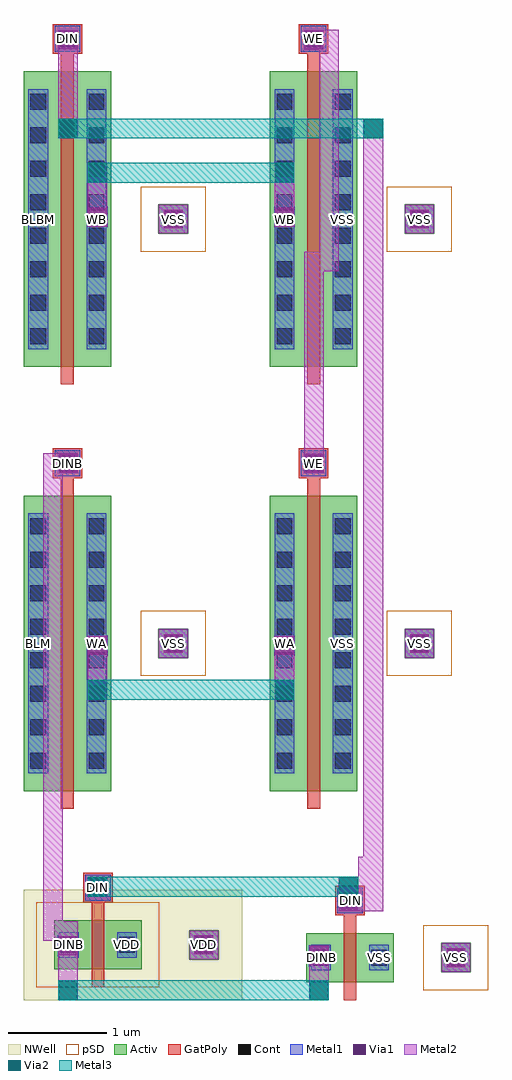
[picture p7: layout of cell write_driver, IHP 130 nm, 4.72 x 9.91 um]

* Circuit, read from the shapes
.subckt write_driver BLBM BLM DIN DINB VDD VSS WA WB WE
XM1 WA DINB BLM VSS sg13_lv_nmos w=3u l=0.13u
XM2 WB DIN BLBM VSS sg13_lv_nmos w=3u l=0.13u
XM3 VSS WE WA VSS sg13_lv_nmos w=3u l=0.13u
XM4 VSS WE WB VSS sg13_lv_nmos w=3u l=0.13u
XM5 VSS DIN DINB VSS sg13_lv_nmos w=0.5u l=0.13u
XM6 VDD DIN DINB VDD sg13_lv_pmos w=0.5u l=0.13u
.ends

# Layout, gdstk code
import gdstk
lib = gdstk.Library(unit=1e-6, precision=1e-09)
def R(c, l, rs):  # rectangles x0, y0, x1, y1
    for r in rs: c.add(gdstk.rectangle(r[:2], r[2:], *l))
def A(c, l, x, y, w, h, nx, ny, dx, dy):  # array of equal rectangles
    R(c, l, [(x+i*dx, y+j*dy, x+i*dx+w, y+j*dy+h) for i in range(nx) for j in range(ny)])
Activ = (1, 0)
GatPoly = (5, 0)
Cont = (6, 0)
Metal1 = (8, 0)
Metal2 = (10, 0)
pSD = (14, 0)
Via1 = (19, 0)
Via2 = (29, 0)
Metal3 = (30, 0)
NWell = (31, 0)

sg13_lv_pmos_w0p5_l0p13 = lib.new_cell('sg13_lv_pmos_w0p5_l0p13')
R(sg13_lv_pmos_w0p5_l0p13, Activ, [(0,0,0.89,0.5), (1.37,0.1,1.67,0.4)])
R(sg13_lv_pmos_w0p5_l0p13, GatPoly, [(0.38,-0.18,0.51,0.7), (0.295,0.68,0.595,0.98)])
R(sg13_lv_pmos_w0p5_l0p13, Cont, [(0.07,0.17,0.23,0.33), (0.66,0.17,0.82,0.33), (1.44,0.17,1.6,0.33), (0.365,0.75,0.525,0.91)])
R(sg13_lv_pmos_w0p5_l0p13, Metal1, [(1.375,0.105,1.665,0.395), (0.05,0.12,0.25,0.38), (0.64,0.12,0.84,0.38), (0.315,0.7,0.575,0.96)])
R(sg13_lv_pmos_w0p5_l0p13, Metal2, [(1.375,0.105,1.665,0.395)])
R(sg13_lv_pmos_w0p5_l0p13, pSD, [(-0.18,-0.18,1.07,0.68)])
R(sg13_lv_pmos_w0p5_l0p13, Via1, [(1.425,0.155,1.615,0.345)])
R(sg13_lv_pmos_w0p5_l0p13, NWell, [(-0.31,-0.31,1.91,0.81)])

sg13_lv_nmos_w0p5_l0p13 = lib.new_cell('sg13_lv_nmos_w0p5_l0p13')
R(sg13_lv_nmos_w0p5_l0p13, Activ, [(0,0,0.89,0.5), (1.37,0.1,1.67,0.4)])
R(sg13_lv_nmos_w0p5_l0p13, GatPoly, [(0.38,-0.18,0.51,0.7), (0.295,0.68,0.595,0.98)])
R(sg13_lv_nmos_w0p5_l0p13, Cont, [(0.07,0.17,0.23,0.33), (0.66,0.17,0.82,0.33), (1.44,0.17,1.6,0.33), (0.365,0.75,0.525,0.91)])
R(sg13_lv_nmos_w0p5_l0p13, Metal1, [(1.375,0.105,1.665,0.395), (0.05,0.12,0.25,0.38), (0.64,0.12,0.84,0.38), (0.315,0.7,0.575,0.96)])
R(sg13_lv_nmos_w0p5_l0p13, Metal2, [(1.375,0.105,1.665,0.395)])
R(sg13_lv_nmos_w0p5_l0p13, pSD, [(1.19,-0.08,1.85,0.58)])
R(sg13_lv_nmos_w0p5_l0p13, Via1, [(1.425,0.155,1.615,0.345)])

sg13_lv_nmos_w3_l0p13 = lib.new_cell('sg13_lv_nmos_w3_l0p13')
R(sg13_lv_nmos_w3_l0p13, Activ, [(0,0,0.89,3), (1.37,1.35,1.67,1.65)])
R(sg13_lv_nmos_w3_l0p13, GatPoly, [(0.38,-0.18,0.51,3.2), (0.295,3.18,0.595,3.48)])
A(sg13_lv_nmos_w3_l0p13, Cont, 0.07, 0.23, 0.16, 0.16, 1, 8, 0, 0.34)
A(sg13_lv_nmos_w3_l0p13, Cont, 0.66, 0.23, 0.16, 0.16, 1, 8, 0, 0.34)
R(sg13_lv_nmos_w3_l0p13, Cont, [(1.44,1.42,1.6,1.58), (0.365,3.25,0.525,3.41)])
R(sg13_lv_nmos_w3_l0p13, Metal1, [(0.05,0.18,0.25,2.82), (0.64,0.18,0.84,2.82), (1.375,1.355,1.665,1.645), (0.315,3.2,0.575,3.46)])
R(sg13_lv_nmos_w3_l0p13, Metal2, [(1.375,1.355,1.665,1.645)])
R(sg13_lv_nmos_w3_l0p13, pSD, [(1.19,1.17,1.85,1.83)])
R(sg13_lv_nmos_w3_l0p13, Via1, [(1.425,1.405,1.615,1.595)])

write_driver = lib.new_cell('write_driver')
R(write_driver, Metal1, [(2.895,0.345,3.105,0.555), (0.345,0.445,0.555,0.655), (3.195,0.895,3.405,1.105), (0.645,1.045,0.855,1.255), (0.645,3.495,0.855,3.705), (2.545,3.495,2.755,3.705), (0.345,5.345,0.555,5.555), (2.845,5.345,3.055,5.555), (0.645,7.845,0.855,8.055), (2.545,7.845,2.755,8.055), (0.345,9.645,0.555,9.855), (2.845,9.645,3.055,9.855)])
R(write_driver, Metal2, [(0.35,0,0.55,0.2), (0.35,0,0.55,0.65), (2.9,0,3.1,0.2), (2.9,0,3.1,0.55), (2.9,0.35,3.1,0.55), (0.35,0.45,0.55,0.65), (0.35,0.45,0.55,0.8), (0.2,0.6,0.55,0.8), (0.2,0.6,0.4,5.55), (3.2,0.9,3.4,1.1), (3.2,0.9,3.65,1.1), (3.2,0.9,3.4,1.25), (3.45,0.9,3.65,8.95), (0.65,1.05,0.85,1.25), (0.65,1.05,0.85,1.25), (3.2,1.05,3.4,1.25), (3.4,1.1,3.45,1.454), (3.4,1.1,3.45,1.454), (0.65,3.05,0.85,3.25), (0.65,3.05,0.85,3.7), (2.55,3.05,2.75,3.25), (2.55,3.05,2.75,3.7), (0.65,3.5,0.85,3.7), (2.55,3.5,2.75,3.7), (0.2,5.35,0.55,5.55), (0.35,5.35,0.55,5.55), (2.85,5.35,3.05,5.55), (2.85,5.35,3.05,7.6), (2.85,7.4,3.2,7.6), (3,7.4,3.2,9.85), (0.65,7.85,0.85,8.05), (0.65,7.85,0.85,8.5), (2.55,7.85,2.75,8.05), (2.55,7.85,2.75,8.5), (0.65,8.3,0.85,8.5), (2.55,8.3,2.75,8.5), (0.35,8.75,0.55,8.95), (0.35,8.75,0.55,9.85), (3.45,8.75,3.65,8.95), (0.35,9.65,0.55,9.85), (2.85,9.65,3.05,9.85), (2.85,9.65,3.2,9.85)])
R(write_driver, Via1, [(2.905,0.355,3.095,0.545), (0.355,0.455,0.545,0.645), (3.205,0.905,3.395,1.095), (0.655,1.055,0.845,1.245), (0.655,3.505,0.845,3.695), (2.555,3.505,2.745,3.695), (0.355,5.355,0.545,5.545), (2.855,5.355,3.045,5.545), (0.655,7.855,0.845,8.045), (2.555,7.855,2.745,8.045), (0.355,9.655,0.545,9.845), (2.855,9.655,3.045,9.845)])
R(write_driver, Via2, [(0.355,0.005,0.545,0.195), (2.905,0.005,3.095,0.195), (0.655,1.055,0.845,1.245), (3.205,1.055,3.395,1.245), (0.655,3.055,0.845,3.245), (2.555,3.055,2.745,3.245), (0.655,8.305,0.845,8.495), (2.555,8.305,2.745,8.495), (0.355,8.755,0.545,8.945), (3.455,8.755,3.645,8.945)])
R(write_driver, Metal3, [(0.35,0,0.55,0.2), (0.35,0,3.1,0.2), (2.9,0,3.1,0.2), (0.65,1.05,0.85,1.25), (0.65,1.05,3.4,1.25), (3.2,1.05,3.4,1.25), (0.65,3.05,0.85,3.25), (0.65,3.05,2.75,3.25), (2.55,3.05,2.75,3.25), (0.65,8.3,0.85,8.5), (0.65,8.3,2.75,8.5), (2.55,8.3,2.75,8.5), (0.35,8.75,0.55,8.95), (0.35,8.75,3.65,8.95), (3.45,8.75,3.65,8.95)])
write_driver.add(gdstk.Reference(sg13_lv_pmos_w0p5_l0p13, (0.31,0.31)))
write_driver.add(gdstk.Reference(sg13_lv_nmos_w0p5_l0p13, (2.87,0.18)))
write_driver.add(gdstk.Reference(sg13_lv_nmos_w3_l0p13, (0,2.12)))
write_driver.add(gdstk.Reference(sg13_lv_nmos_w3_l0p13, (2.5,2.12)))
write_driver.add(gdstk.Reference(sg13_lv_nmos_w3_l0p13, (0,6.43)))
write_driver.add(gdstk.Reference(sg13_lv_nmos_w3_l0p13, (2.5,6.43)))
write_driver.add(gdstk.Label('DINB', (0.46,0.56), layer=8, texttype=25))
write_driver.add(gdstk.Label('DIN', (0.755,1.14), layer=8, texttype=25))
write_driver.add(gdstk.Label('VDD', (1.05,0.56), layer=8, texttype=25))
write_driver.add(gdstk.Label('VDD', (1.83,0.56), layer=8, texttype=25))
write_driver.add(gdstk.Label('DINB', (3.02,0.43), layer=8, texttype=25))
write_driver.add(gdstk.Label('DIN', (3.315,1.01), layer=8, texttype=25))
write_driver.add(gdstk.Label('VSS', (3.61,0.43), layer=8, texttype=25))
write_driver.add(gdstk.Label('VSS', (4.39,0.43), layer=8, texttype=25))
write_driver.add(gdstk.Label('BLM', (0.15,3.62), layer=8, texttype=25))
write_driver.add(gdstk.Label('DINB', (0.445,5.45), layer=8, texttype=25))
write_driver.add(gdstk.Label('WA', (0.74,3.62), layer=8, texttype=25))
write_driver.add(gdstk.Label('VSS', (1.52,3.62), layer=8, texttype=25))
write_driver.add(gdstk.Label('WA', (2.65,3.62), layer=8, texttype=25))
write_driver.add(gdstk.Label('WE', (2.945,5.45), layer=8, texttype=25))
write_driver.add(gdstk.Label('VSS', (3.24,3.62), layer=8, texttype=25))
write_driver.add(gdstk.Label('VSS', (4.02,3.62), layer=8, texttype=25))
write_driver.add(gdstk.Label('BLBM', (0.15,7.93), layer=8, texttype=25))
write_driver.add(gdstk.Label('DIN', (0.445,9.76), layer=8, texttype=25))
write_driver.add(gdstk.Label('WB', (0.74,7.93), layer=8, texttype=25))
write_driver.add(gdstk.Label('VSS', (1.52,7.93), layer=8, texttype=25))
write_driver.add(gdstk.Label('WB', (2.65,7.93), layer=8, texttype=25))
write_driver.add(gdstk.Label('WE', (2.945,9.76), layer=8, texttype=25))
write_driver.add(gdstk.Label('VSS', (3.24,7.93), layer=8, texttype=25))
write_driver.add(gdstk.Label('VSS', (4.02,7.93), layer=8, texttype=25))

lib.write_gds('write_driver.gds')
